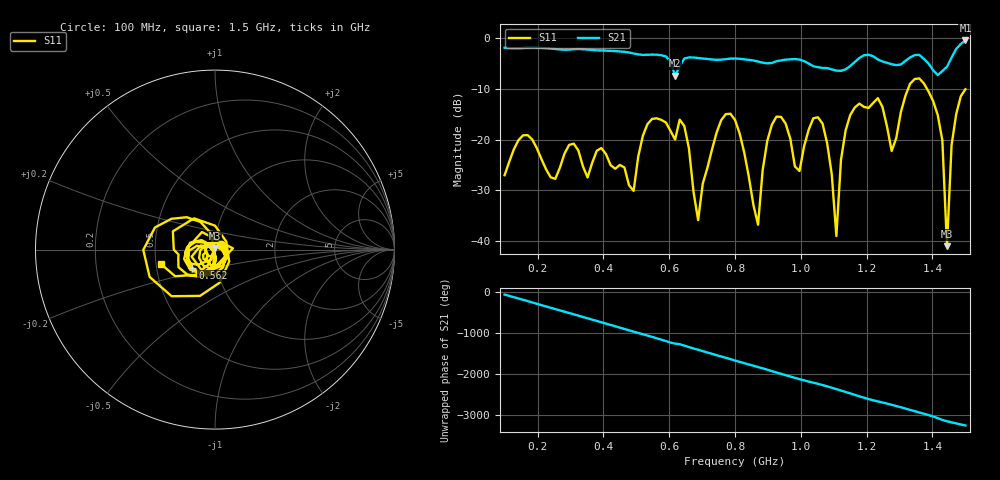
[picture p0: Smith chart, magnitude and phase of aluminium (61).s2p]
! NanoVNA-App
! Date: 2025-09-25 14:55:45
! Start: 100MHz Stop: 1,5GHz Points: 101
! S-Parameter data: F S11 S21 S12 S22
# Hz S RI R 50
!  Frequency  S11_Real  S11_Imag  S21_Real  S21_Imag  S12_Real  S12_Imag  S22_Real  S22_Imag
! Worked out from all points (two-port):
!   101 points, 100 MHz to 1.5 GHz, reference 50 ohm
!   highest |S21| = -0.49 dB at 1.5 GHz (marker M1); lowest = -7.4 dB at 618 MHz (marker M2)
!   |S21| within 3 dB of the highest: start of sweep to 581.5 MHz; 1.461 GHz to end of sweep (the widest 2 of 4)
!   lowest |S11| = -41.0 dB at 1.444 GHz (marker M3), VSWR 1.02, Z = 49.7 + j0.849 ohm
!   |S11| at or under -10 dB: start of sweep to 1.326 GHz; 1.383 GHz to end of sweep
!   S12 and S22 are empty: the file has one direction only
!   S11 on the Smith chart (normalised r, x): 100 MHz: 1.07, +0.06; 562 MHz: 0.76, -0.16; 1.5 GHz: 0.53, -0.09
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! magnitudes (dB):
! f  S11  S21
! 100 MHz  -27.0  -1.9
! 338 MHz  -25.3  -2.2
! 492 MHz  -30.1  -3.1
! 562 MHz  -15.8  -3.3
! 576 MHz  -16.1  -3.4
! 618 MHz  -20.0  -7.4
! 646 MHz  -17.3  -4.0
! 688 MHz  -35.8  -3.9
! 800 MHz  -16.1  -4.0
! 870 MHz  -36.7  -4.6
! 912 MHz  -17.1  -4.9
! 996 MHz  -26.2  -4.2
! 1.038 GHz  -15.8  -5.6
! 1.08 GHz  -20.7  -5.9
! 1.108 GHz  -39.0  -6.4
! 1.164 GHz  -13.7  -4.7
! 1.276 GHz  -22.2  -5.2
! 1.374 GHz  -9.0  -4.1
! 1.43 GHz  -20.2  -6.5
! 1.444 GHz  -41.0  -5.7
! 1.458 GHz  -21.1  -3.9
! 1.5 GHz  -10.1  -0.5
